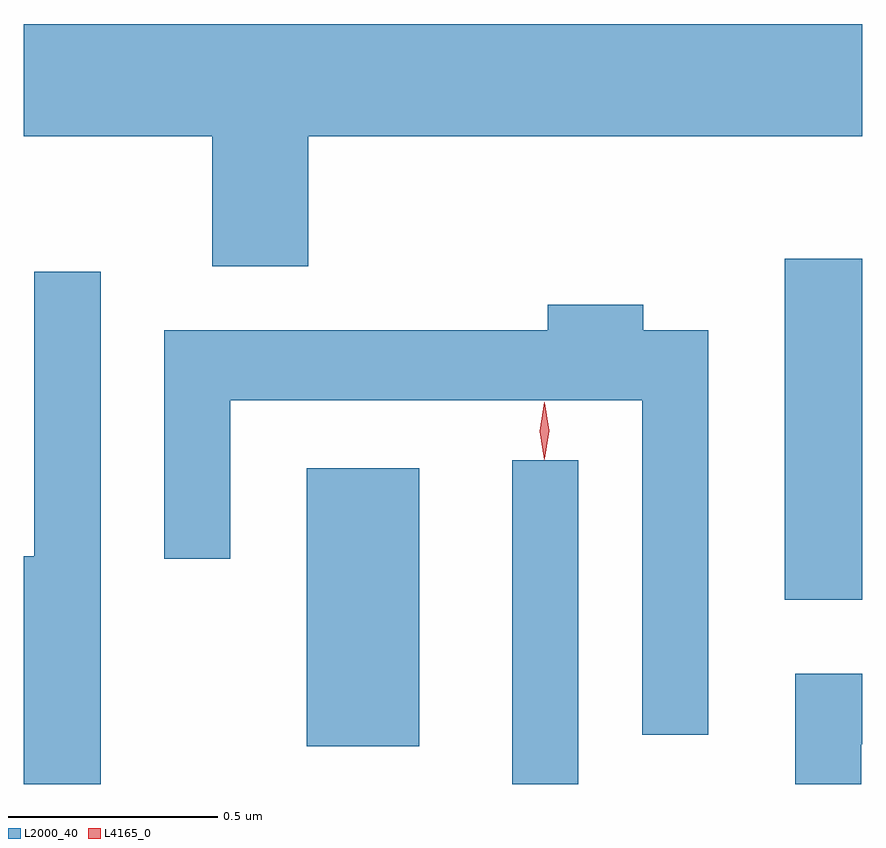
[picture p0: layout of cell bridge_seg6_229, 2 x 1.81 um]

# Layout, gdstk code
import gdstk
lib = gdstk.Library(unit=1e-6, precision=1e-09)
def R(c, l, rs):  # rectangles x0, y0, x1, y1
    for r in rs: c.add(gdstk.rectangle(r[:2], r[2:], *l))
def P(c, l, *ps):  # polygons
    for p in ps: c.add(gdstk.Polygon(p, *l))
L2000_40 = (2000, 40)
L4165_0 = (4165, 0)

bridge_seg6_229 = lib.new_cell('bridge_seg6_229')
R(bridge_seg6_229, L2000_40, [(1082.666,1550.711,1082.824,1551.483), (1082.176,1550.801,1082.444,1551.464), (1083.316,1551.151,1083.501,1551.964)])
P(bridge_seg6_229, L2000_40, [(1082.179,1552.256),(1083.501,1552.256),(1083.501,1552.524),(1081.501,1552.524),(1081.501,1552.256),(1081.951,1552.256),(1081.951,1551.946),(1082.179,1551.946)],
  [(1081.684,1551.933),(1081.526,1551.933),(1081.526,1551.254),(1081.501,1551.254),(1081.501,1550.711),(1081.684,1550.711)],
  [(1083.134,1551.794),(1082.979,1551.794),(1082.979,1551.854),(1082.751,1551.854),(1082.751,1551.794),(1081.836,1551.794),(1081.836,1551.248),(1081.994,1551.248),(1081.994,1551.626),(1082.976,1551.626),(1082.976,1550.828),(1083.134,1550.828)],
  [(1083.499,1550.806),(1083.501,1550.806),(1083.501,1550.974),(1083.341,1550.974),(1083.341,1550.711),(1083.499,1550.711)])
P(bridge_seg6_229, L4165_0, [(1082.744,1551.487),(1082.744,1551.487),(1082.734,1551.554),(1082.744,1551.62),(1082.744,1551.621),(1082.744,1551.62),(1082.754,1551.554),(1082.744,1551.487)],
  [(1082.742,1551.483),(1082.742,1551.484),(1082.732,1551.553),(1082.742,1551.622),(1082.742,1551.623),(1082.743,1551.622),(1082.752,1551.553),(1082.743,1551.484)])

lib.write_gds('bridge_seg6_229.gds')
